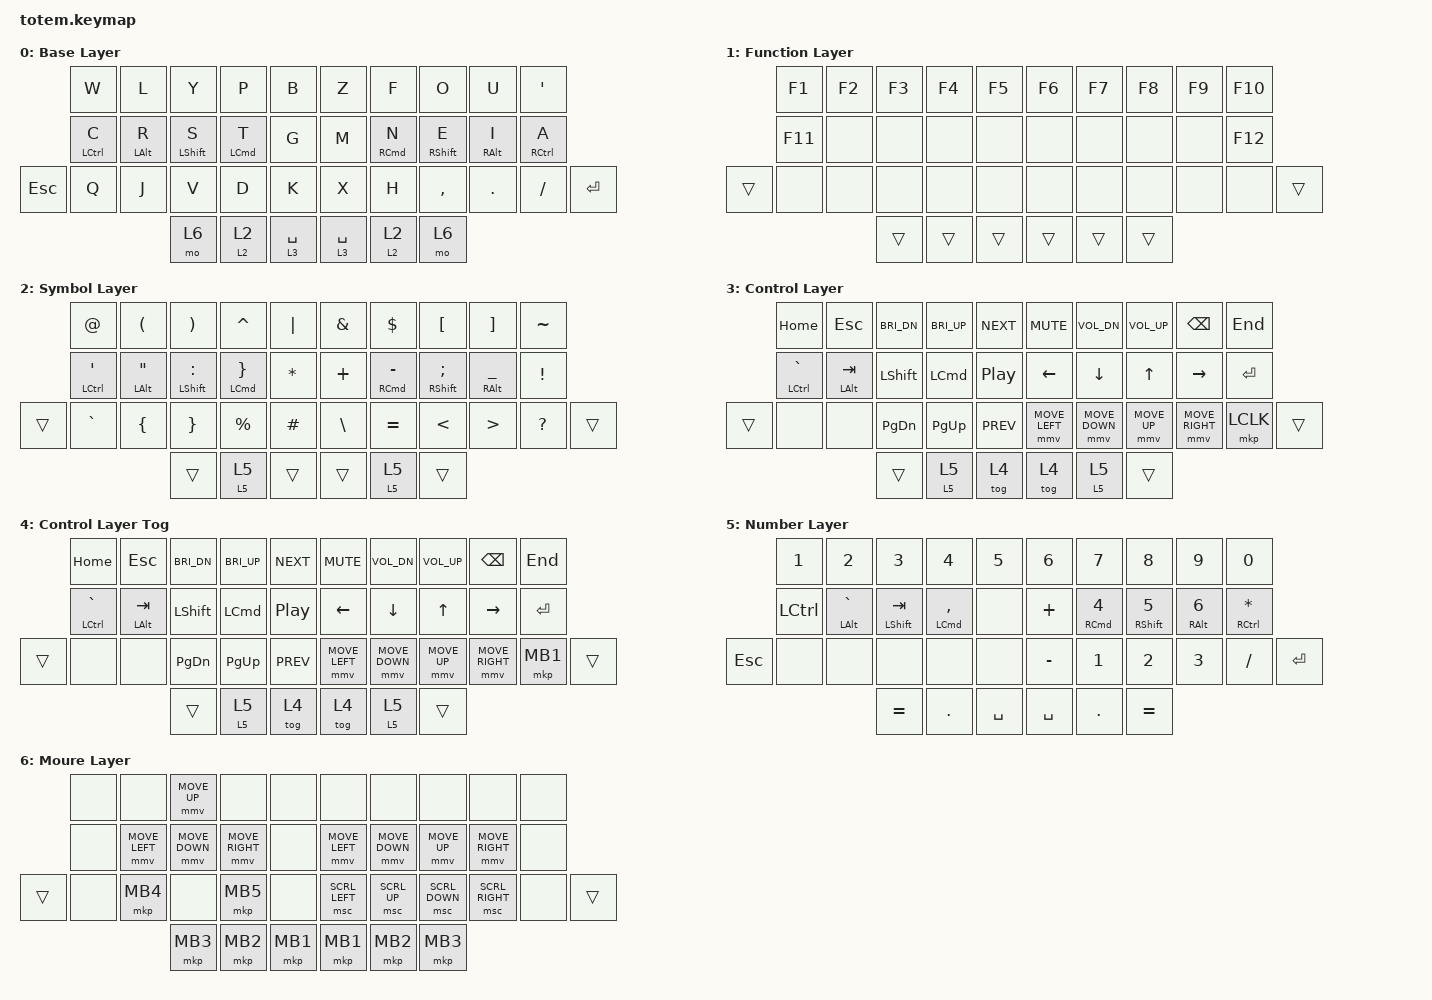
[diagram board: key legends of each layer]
#define ZMK_POINTING_DEFAULT_MOVE_VAL 1500
#define ZMK_POINTING_DEFAULT_SCRL_VAL 20

#include <behaviors.dtsi>
#include <dt-bindings/zmk/bt.h>
#include <dt-bindings/zmk/keys.h>
#include <dt-bindings/zmk/pointing.h>
#include <dt-bindings/zmk/pointing.h>
#include <dt-bindings/zmk/pointing.h>

#define LYR0 0
#define LYR1 1
#define LYR2 2
#define LYR3 3
#define LYR4 4
#define LYR5 5

&lt {
    tapping-term-ms = <100>;
    quick-tap-ms = <0>;
    retro-tap;
    flavor = "hold-preferred";
};

&mt {
    flavor = "balanced";
    tapping-term-ms = <280>;
    quick-tap-ms = <175>;
    require-prior-idle-ms = <150>;
};

/ {
    behaviors {
        mo_sl: behavior_mo_sl {
            compatible = "zmk,behavior-hold-tap";
            #binding-cells = <2>;
            flavor = "hold-preferred";
            tapping-term-ms = <200>;
            bindings = <&mo>, <&sl>;
        };

        mo_tog: mo_tog {
            compatible = "zmk,behavior-hold-tap";
            #binding-cells = <2>;
            flavor = "hold-preferred";
            tapping-term-ms = <100>;
            bindings = <&mo>, <&tog>;

            label = "MO_TOG";
            retro-tap;
        };
    };

    combos {
        compatible = "zmk,combos";

        combo_fn_layer {
            timeout-ms = <100>;
            key-positions = <1 2 3>;
            bindings = <&tog 1>;
        };

        bt_clear_combo {
            bindings = <&bt BT_CLR_ALL>;
            key-positions = <34 33 32>;
        };

        combo_control_layer {
            bindings = <&tog 3>;
            key-positions = <6 7 8>;
        };

        Mouse {
            bindings = <&tog 6>;
            key-positions = <18 17 16>;
        };

        toggle_control_layer {
            bindings = <&tog 4>;
            key-positions = <34 35>;
        };
    };

    keymap {
        compatible = "zmk,keymap";

        layer_0 {
            label = "Base Layer";
            bindings = <
         &kp W        &kp L       &kp Y        &kp P       &kp B          &kp Z        &kp F       &kp O        &kp U       &kp SQT
         &mt LCTRL C  &mt LALT R  &mt LSHFT S  &mt LCMD T  &kp G          &kp M        &mt RCMD N  &mt RSHFT E  &mt RALT I  &mt RCTRL A
&kp ESC  &kp Q        &kp J       &kp V        &kp D       &kp K          &kp X        &kp H       &kp COMMA    &kp DOT     &kp FSLH     &kp RET
                                  &mo 6        &mo_sl 2 2  &lt 3 SPACE    &lt 3 SPACE  &mo_sl 2 2  &mo 6
            >;
        };

        layer_1 {
            label = "Function Layer";
            bindings = <
        &kp F1   &kp F2  &kp F3  &kp F4  &kp F5    &kp F6  &kp F7  &kp F8  &kp F9  &kp F10
        &kp F11  &none   &none   &none   &none     &none   &none   &none   &none   &kp F12
&trans  &none    &none   &none   &none   &none     &none   &none   &none   &none   &none    &trans
                         &trans  &trans  &trans    &trans  &trans  &trans
            >;
        };

        layer_2 {
            bindings = <
        &kp AT         &kp LPAR      &kp RPAR         &kp CARET      &kp PIPE     &kp AMPS  &kp DLLR        &kp LBKT        &kp RBKT        &kp TILDE
        &mt LCTRL SQT  &mt LALT DQT  &mt LSHFT COLON  &mt LCMD RBRC  &kp ASTRK    &kp PLUS  &mt RCMD MINUS  &mt RSHFT SEMI  &mt RALT UNDER  &kp EXCL
&trans  &kp GRAVE      &kp LBRC      &kp RBRC         &kp PRCNT      &kp HASH     &kp BSLH  &kp EQUAL       &kp LT          &kp GT          &kp QMARK  &trans
                                     &trans           &mo_sl 5 5     &trans       &trans    &mo_sl 5 5      &trans
            >;

            label = "Symbol Layer";
        };

        layer_3 {
            bindings = <
        &kp HOME         &kp ESC       &kp C_BRI_DN  &kp C_BRI_UP  &kp C_NEXT    &kp C_MUTE      &kp C_VOL_DN    &kp C_VOL_UP  &kp BSPC         &kp END
        &mt LCTRL GRAVE  &mt LALT TAB  &kp LSHFT     &kp LCMD      &kp C_PP      &kp LEFT        &kp DOWN        &kp UP        &kp RIGHT        &kp RET
&trans  &none            &none         &kp PG_DN     &kp PG_UP     &kp C_PREV    &mmv MOVE_LEFT  &mmv MOVE_DOWN  &mmv MOVE_UP  &mmv MOVE_RIGHT  &mkp LCLK  &trans
                                       &trans        &mo_sl 5 5    &tog 4        &tog 4          &mo_sl 5 5      &trans
            >;

            label = "Control Layer";
        };

        layer_4 {
            label = "Control Layer Tog";
            bindings = <
        &kp HOME         &kp ESC       &kp C_BRI_DN  &kp C_BRI_UP  &kp C_NEXT    &kp C_MUTE      &kp C_VOL_DN    &kp C_VOL_UP  &kp BSPC         &kp END
        &mt LCTRL GRAVE  &mt LALT TAB  &kp LSHFT     &kp LCMD      &kp C_PP      &kp LEFT        &kp DOWN        &kp UP        &kp RIGHT        &kp RET
&trans  &none            &none         &kp PG_DN     &kp PG_UP     &kp C_PREV    &mmv MOVE_LEFT  &mmv MOVE_DOWN  &mmv MOVE_UP  &mmv MOVE_RIGHT  &mkp MB1  &trans
                                       &trans        &mo_sl 5 5    &tog 4        &tog 4          &mo_sl 5 5      &trans
            >;
        };

        layer_5 {
            label = "Number Layer";
            bindings = <
         &kp N1     &kp N2          &kp N3         &kp N4          &kp N5       &kp N6     &kp N7       &kp N8        &kp N9       &kp N0
         &kp LCTRL  &mt LALT GRAVE  &mt LSHFT TAB  &mt LCMD COMMA  &none        &kp PLUS   &mt RCMD N4  &mt RSHFT N5  &mt RALT N6  &mt RCTRL ASTERISK
&kp ESC  &none      &none           &none          &none           &none        &kp MINUS  &kp N1       &kp N2        &kp N3       &kp FSLH            &kp RET
                                    &kp EQUAL      &kp DOT         &kp SPACE    &kp SPACE  &kp DOT      &kp EQUAL
            >;
        };

        layer_6 {
            bindings = <
        &none  &none           &mmv MOVE_UP    &none            &none       &none           &none           &none           &none            &none
        &none  &mmv MOVE_LEFT  &mmv MOVE_DOWN  &mmv MOVE_RIGHT  &none       &mmv MOVE_LEFT  &mmv MOVE_DOWN  &mmv MOVE_UP    &mmv MOVE_RIGHT  &none
&trans  &none  &mkp MB4        &none           &mkp MB5         &none       &msc SCRL_LEFT  &msc SCRL_UP    &msc SCRL_DOWN  &msc SCRL_RIGHT  &none  &trans
                               &mkp MB3        &mkp MB2         &mkp MB1    &mkp MB1        &mkp MB2        &mkp MB3
            >;

            label = "Moure Layer";
        };
    };
};
